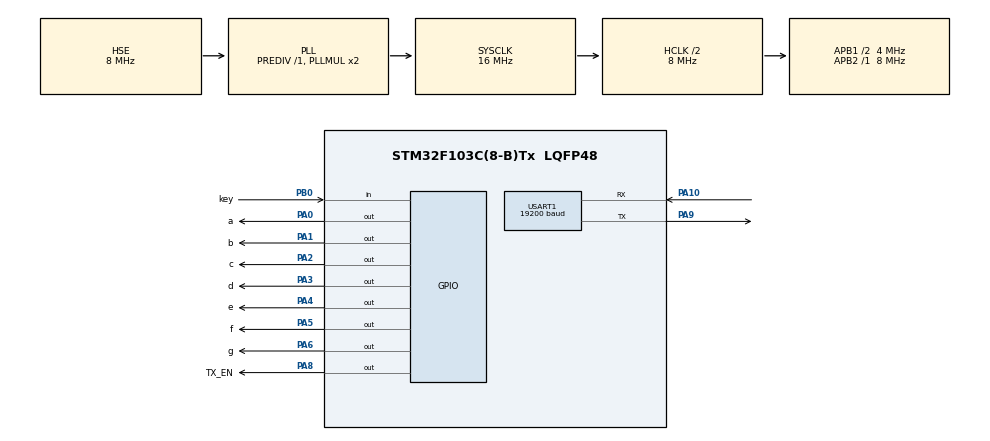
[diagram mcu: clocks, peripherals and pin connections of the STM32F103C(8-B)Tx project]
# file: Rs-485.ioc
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Mcu.Family=STM32F1
Mcu.Name=STM32F103C(8-B)Tx
Mcu.Package=LQFP48
NVIC.PriorityGroup=NVIC_PRIORITYGROUP_4
NVIC.TIM1_UP_IRQn=true\:0\:0\:false\:false\:true\:true\:true\:true
NVIC.USART1_IRQn=true\:0\:0\:false\:false\:true\:true\:true\:true
PA0-WKUP.GPIO_Label=a
PA0-WKUP.Signal=GPIO_Output
PA1.GPIO_Label=b
PA1.Signal=GPIO_Output
PA10.Mode=Asynchronous
PA10.Signal=USART1_RX
PA13.Mode=Serial_Wire
PA13.Signal=SYS_JTMS-SWDIO
PA14.Mode=Serial_Wire
PA14.Signal=SYS_JTCK-SWCLK
PA2.GPIO_Label=c
PA2.Signal=GPIO_Output
PA3.GPIO_Label=d
PA3.Signal=GPIO_Output
PA4.GPIO_Label=e
PA4.Signal=GPIO_Output
PA5.GPIO_Label=f
PA5.Signal=GPIO_Output
PA6.GPIO_Label=g
PA6.Signal=GPIO_Output
PA8.GPIO_Label=TX_EN
PA8.Signal=GPIO_Output
PA9.Mode=Asynchronous
PA9.Signal=USART1_TX
PB0.GPIO_Label=key
PB0.GPIO_PuPd=GPIO_PULLUP
PB0.Signal=GPIO_Input
PD0-OSC_IN.Mode=HSE-External-Oscillator
PD0-OSC_IN.Signal=RCC_OSC_IN
PD1-OSC_OUT.Mode=HSE-External-Oscillator
PD1-OSC_OUT.Signal=RCC_OSC_OUT
ProjectManager.HeapSize=0x200
ProjectManager.StackSize=0x400
ProjectManager.TargetToolchain=Makefile
RCC.AHBCLKDivider=RCC_SYSCLK_DIV2
RCC.AHBFreq_Value=8000000
RCC.APB1CLKDivider=RCC_HCLK_DIV2
RCC.APB1Freq_Value=4000000
RCC.APB1TimFreq_Value=8000000
RCC.APB2Freq_Value=8000000
RCC.APB2TimFreq_Value=8000000
RCC.HCLKFreq_Value=8000000
RCC.PLLSourceVirtual=RCC_PLLSOURCE_HSE
RCC.SYSCLKFreq_VALUE=16000000
RCC.SYSCLKSource=RCC_SYSCLKSOURCE_PLLCLK
RCC.USBFreq_Value=16000000
TIM1.Period=799
TIM1.Prescaler=99
USART1.BaudRate=19200
USART1.VirtualMode=VM_ASYNC
VP_TIM1_VS_ClockSourceINT.Mode=Internal
board=custom

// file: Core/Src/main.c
/* USER CODE BEGIN Header */
/**
  ******************************************************************************
  * @file           : main.c
  * @brief          : Main program body
  ******************************************************************************
  * @attention
  *
  * Copyright (c) 2022 STMicroelectronics.
  * All rights reserved.
  *
  * This software is licensed under terms that can be found in the LICENSE file
  * in the root directory of this software component.
  * If no LICENSE file comes with this software, it is provided AS-IS.
  *
  ******************************************************************************
  */
/* USER CODE END Header */
#include "main.h"
#include "tim.h"
#include "usart.h"
#include "gpio.h"

/* USER CODE BEGIN Includes */
#include "buffer.h"
/* USER CODE END Includes */

/* USER CODE BEGIN PV */
uint16_t* unique_id;
uint8_t f_busy;
uint8_t f_start_counting;
uint8_t f_read_msg;
uint8_t f_timer_10ms=0;
uint8_t f_timer_30ms=0;
uint8_t d_timer_30ms;
uint8_t f_timer_digit_update=0;
uint8_t d_timer_digit_update;
uint8_t key_value;
uint8_t curr_event;
//uint8_t bufferEvent[64];
uint8_t read_res;
uint8_t rx_temp;
uint8_t transmission_f;

buffer_tx_msg tx_buffer;
circular_buffer rx_buffer;
circular_buffer event_buffer;
uint8_t ID;
uint8_t TX_msg[6];
uint8_t RX_msg[4];
uint8_t *pRX_msg;
uint8_t *pTX_msg;
uint8_t state,event;
uint8_t min_digit, max_digit;
int digit;
uint8_t seven_segment_table[17] = {	0b0111111,	// '0'
		                            	 0b0000110,	// '1'
		   	                           0b1011011,	// '2'
			                             0b1001111,	// '3'
			                             0b1100110,	// '4'
                                   0b1101101,	// '5'
                                   0b1111101,	// '6'
                                   0b0000111,	// '7'
			                             0b1111111,	// '8'
                                   0b1101111,	// '9'
                                   0b1011111,	// 'a'  --10
                                   0b1111100,	// 'b'  --11
			                             0b1011000,	// 'c'  --14
                                   0b1011110,	// 'd'  --13
                                   0b1111011,	// 'e'	--14
                                   0b1110001,	// 'f'  --15
                                   0b1000000 	// '-'  --16
};

/* USER CODE END PV */

void SystemClock_Config(void);

/* USER CODE BEGIN PFP */
void RS485_TX_Task(void);
void RS485_RX_Task(void);
void task_timer(void);
void seven_segment_display(char input);
void key_read_task(void);
void main_task(void);
void RS485_Send_Message(void);
void RS485_Read_Message(void);
/* USER CODE END PFP */

int main(void)
{

  /* MCU Configuration--------------------------------------------------------*/

  /* Reset of all peripherals, Initializes the Flash interface and the Systick. */
  HAL_Init();

  /* Configure the system clock */
  SystemClock_Config();

  /* Initialize all configured peripherals */
  MX_GPIO_Init();
  MX_TIM1_Init();
  MX_USART1_UART_Init();
  /* USER CODE BEGIN 2 */

  HAL_TIM_Base_Start_IT(&htim1);

  /* USER CODE END 2 */

  /* Infinite loop */
  /* USER CODE BEGIN WHILE */
  /*
  #ifdef SLAVE_1
  ID=0x10;
  #endif
  #ifdef SLAVE_2
  ID=0x12;
  #endif
  */

  ID = 0xFF;
  unique_id =(uint16_t *)(0x1FFFF7E8);
  uint32_t rand= COMPUTE_BUILD_SEC*100;

  state = STATE_WAITING_MASTER;

  HAL_Delay(rand);
  HAL_UART_Receive_IT(&huart1, &rx_temp, 1);

  digit=16;
  seven_segment_display(seven_segment_table[digit]);
  while (1)
  {
    /* USER CODE END WHILE */

    /* USER CODE BEGIN 3 */

     //seven_segment_display(seven_segment_table[0]);
      task_timer();
      key_read_task();

      RS485_RX_Task();

      main_task();
  }
  /* USER CODE END 3 */
}

void SystemClock_Config(void)
{
  RCC_OscInitTypeDef RCC_OscInitStruct = {0};
  RCC_ClkInitTypeDef RCC_ClkInitStruct = {0};

  /** Initializes the RCC Oscillators according to the specified parameters
  * in the RCC_OscInitTypeDef structure.
  */
  RCC_OscInitStruct.OscillatorType = RCC_OSCILLATORTYPE_HSE;
  RCC_OscInitStruct.HSEState = RCC_HSE_ON;
  RCC_OscInitStruct.HSEPredivValue = RCC_HSE_PREDIV_DIV1;
  RCC_OscInitStruct.HSIState = RCC_HSI_ON;
  RCC_OscInitStruct.PLL.PLLState = RCC_PLL_ON;
  RCC_OscInitStruct.PLL.PLLSource = RCC_PLLSOURCE_HSE;
  RCC_OscInitStruct.PLL.PLLMUL = RCC_PLL_MUL2;
  if (HAL_RCC_OscConfig(&RCC_OscInitStruct) != HAL_OK)
  {
    Error_Handler();
  }

  /** Initializes the CPU, AHB and APB buses clocks
  */
  RCC_ClkInitStruct.ClockType = RCC_CLOCKTYPE_HCLK|RCC_CLOCKTYPE_SYSCLK
                              |RCC_CLOCKTYPE_PCLK1|RCC_CLOCKTYPE_PCLK2;
  RCC_ClkInitStruct.SYSCLKSource = RCC_SYSCLKSOURCE_PLLCLK;
  RCC_ClkInitStruct.AHBCLKDivider = RCC_SYSCLK_DIV2;
  RCC_ClkInitStruct.APB1CLKDivider = RCC_HCLK_DIV2;
  RCC_ClkInitStruct.APB2CLKDivider = RCC_HCLK_DIV1;

  if (HAL_RCC_ClockConfig(&RCC_ClkInitStruct, FLASH_LATENCY_0) != HAL_OK)
  {
    Error_Handler();
  }
}

/* USER CODE BEGIN 4 */

void task_timer(void)
{
  if (!f_timer_10ms) return;
  f_timer_10ms=0;

  d_timer_30ms++;

  if(d_timer_30ms==3){
    d_timer_30ms =0;
    f_timer_30ms=1;

  }

  d_timer_digit_update++;
  if(d_timer_digit_update>75){
    d_timer_digit_update=0;
    f_timer_digit_update=1;

  }

}

void seven_segment_display(char input)
{
   uint32_t mask =  a_Pin|b_Pin|c_Pin|d_Pin|e_Pin|f_Pin|g_Pin;
   uint32_t val = (uint32_t)input & mask;
   SEGMENT_PORT->ODR = val;
}

void key_read_task(void)
{
  if(!f_timer_30ms) return;
  f_timer_30ms =0;

  unsigned char key_pindata = (uint8_t)(key_GPIO_Port->IDR & key_Pin);

  key_value = key_value<<1;
  key_value &= 0b00001110;
  key_value |= key_pindata&0X1;

  if (key_value==KEY_PRESSED){
      buffer_push(&event_buffer,EVENT_KEY_PRESSED);

  }else if(key_value==KEY_RELEASED){
    buffer_push(&event_buffer,EVENT_KEY_RELEASED);
  }

}

void main_task(void)
{
  	if (event_buffer.head!=event_buffer.tail){

		  event = buffer_pop(&event_buffer);   // if there is event then get the event from buffer

  }

  switch (state)
  {
  case STATE_WAITING_MASTER:

    if (event == EVENT_RX_COMPLETE){
     // seven_segment_display(seven_segment_table[10]);
      RS485_Read_Message();
      event=EVENT_RESET;
    }
    else if(event == EVENT_MASTER_FOUND){
       // seven_segment_display(seven_segment_table[11]);
        pTX_msg = &TX_msg[1];

        *pTX_msg++ = ID;
        ID = (uint8_t)(*unique_id&0xFF);
        *pTX_msg++ = FUNC_FIND_SLAVE;
        *pTX_msg++ = ID;
        RS485_Send_Message();
        event = EVENT_RESET;

        state = STATE_OPERATION;
    }
    break;

  case STATE_OPERATION:
    switch (event)
    {
    case EVENT_KEY_PRESSED:
      f_timer_digit_update=1;
      d_timer_digit_update=0;
      f_start_counting=1;
      event=EVENT_RESET;
      break;

    case EVENT_KEY_RELEASED:
      f_start_counting=0;
      event=EVENT_RESET;
      break;

    case EVENT_RX_COMPLETE:
      RS485_Read_Message();
      event=EVENT_RESET;
      break;
    case EVENT_DATA_REQUEST:

        pTX_msg = &TX_msg[1];

        *pTX_msg++ = ID;
        *pTX_msg++ = FUNC_READ;
        *pTX_msg++ = digit+'0';
        RS485_Send_Message();
        event = EVENT_RESET;
      break;

    case EVENT_DATA_WRITE:

        pTX_msg = &TX_msg[1];

        *pTX_msg++ = ID;
        *pTX_msg++ = FUNC_WRITE;
        *pTX_msg++ = '0';
        RS485_Send_Message();
        event = EVENT_RESET;
      break;

    }
    default:
        if(!f_start_counting) break;
        if(!f_timer_digit_update) break;
        f_timer_digit_update=0;
        digit=(digit+1)>max_digit? min_digit :digit+1;
        seven_segment_display(seven_segment_table[digit]);

      break;

    break;

  }

}

void RS485_RX_Task(void)
{

	if (rx_buffer.tail==rx_buffer.head) return;

	if (rx_buffer.data[rx_buffer.tail]==SOF)
	{
		f_read_msg =1;
		pRX_msg = RX_msg;

	}else if(rx_buffer.data[rx_buffer.tail]==EOF)
	{
		f_read_msg =0;
    buffer_push(&event_buffer,EVENT_RX_COMPLETE);
		//RS485_Read_Message();  //event msg ready
	}else{

		if (f_read_msg){
			*pRX_msg++=rx_buffer.data[rx_buffer.tail];
		}
	}
	rx_buffer.tail = (rx_buffer.tail+1)%BUFFER_SIZE;

}

void RS485_Read_Message(void){

  uint8_t checksum = 0;

	checksum = checksum^RX_msg[0]^RX_msg[1]^RX_msg[2];

  //if (rx_buffer.tail==rx_buffer.head) return;

  if (!(checksum== RX_msg[3]))
	{
     return;

	}

  if (RX_msg[0]!= ID) return;

  if (RX_msg[1] == FUNC_WRITE)
  {
         digit = RX_msg[2]-'0';
         seven_segment_display(seven_segment_table[digit]);
         buffer_push(&event_buffer, EVENT_DATA_WRITE);

  }else if (RX_msg[1] == FUNC_READ){

        buffer_push(&event_buffer, EVENT_DATA_REQUEST);
        //RS485_Send_Message();

  }else if(RX_msg[1]== FUNC_FIND_SLAVE){

      if (RX_msg[2]=='1'){
          min_digit = 0;
          max_digit = 9;
      }
      else if (RX_msg[2]=='2'){
          min_digit = 10;
          max_digit = 15;
      }

       buffer_push(&event_buffer, EVENT_MASTER_FOUND);
  }
}

void RS485_Send_Message(void)
{

	TX_msg[0] = SOF;
  TX_msg[4] = (((0x00^TX_msg[1])^TX_msg[2])^TX_msg[3]);    // checksum  // checksum
	TX_msg[5] = EOF;

	// uint8_t *pbuf_tx = (uint8_t *)&msg;
	HAL_GPIO_WritePin(TX_EN_GPIO_Port, TX_EN_Pin, 1); /// Enable Transmitter Mode
	HAL_UART_Transmit(&huart1, TX_msg, sizeof(TX_msg), 10);
	HAL_GPIO_WritePin(TX_EN_GPIO_Port, TX_EN_Pin, 0); /// Enable Receiver Mode
}

void HAL_TIM_PeriodElapsedCallback(TIM_HandleTypeDef *htim)
{
  // Check which version of the timer triggered this callback and toggle LED
  if (htim == &htim1)
  {
	  f_timer_10ms=1;
  }

}

void HAL_UART_RxCpltCallback(UART_HandleTypeDef *huart)
{
	//HAL_GPIO_TogglePin(LD3_GPIO_Port, LD3_Pin);

	if (huart == &huart1)
	{
    //seven_segment_display(seven_segment_table[12]);
    buffer_push(&rx_buffer,rx_temp);
		HAL_UART_Receive_IT(&huart1, &rx_temp, 1);

  }
}
/* USER CODE END 4 */

void Error_Handler(void)
{
  __disable_irq();
  while (1)
  {
  }
}
